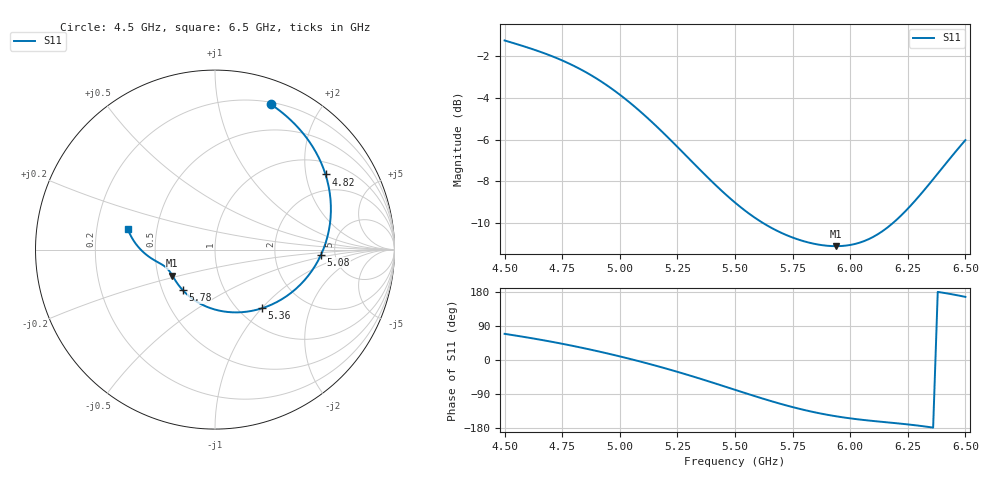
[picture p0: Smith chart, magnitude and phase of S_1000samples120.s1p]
! TOUCHSTONE file generated by CST MICROWAVE STUDIO
! Date and time: Thu Oct 27 01:47:39 2022
! Project name: L.cst
! Parameters = {Di=1.27; Epsilon_r=1.56; InnerDiameter=1.27; Length=2; Lf=10; Lg=60; OuterConductorThickness=0.2921; OuterDiameter=3.6; Wf=3; Wp=41.2; de=1.5; df=6.8; g=0.8; gx=1.48104; gy=1.87884; h=2.34; hf=1.524; px=10.7545; py=10.5753; w=9.7; wx=9.27342; wy=8.69649}
! Header version: 2018
! Port assignment regex: !\s*Touchstone port\s*([0-9]+)\s*=\s*(CST MWS port|CST DS port)\s*([0-9]+|Zmin|Zmax)\s*\(\"(.*)\"\)(\s*mode\s*([0-9]+))?.*
! Touchstone port assignment:
! Touchstone port 1 = CST MWS port 1 ("")
# GHz S DB R 50
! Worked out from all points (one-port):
!   101 points, 4.5 GHz to 6.5 GHz, reference 50 ohm
!   lowest |S11| = -11.1 dB at 5.94 GHz (marker M1), VSWR 1.77, Z = 29.7 - j9.33 ohm
!   |S11| at or under -10 dB: 5.623 GHz to 6.185 GHz (561.9 MHz wide, 9.52 % of centre)
!   S11 on the Smith chart (normalised r, x): 4.5 GHz: 0.22, +1.43; 4.82 GHz: 1.38, +2.59; 5.08 GHz: 3.87, -0.33; 5.36 GHz: 1.26, -1.00; 5.78 GHz: 0.63, -0.31; 6.5 GHz: 0.34, +0.10
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4.5  -1.23 69.0
4.58  -1.50 61.3
4.64  -1.72 55.1
4.76  -2.24 41.6
4.82  -2.56 34.2
4.88  -2.93 26.4
4.92  -3.21 21.0
5  -3.83 9.5
5.08  -4.56 -2.7
5.18  -5.57 -19.1
5.26  -6.45 -33.0
5.32  -7.12 -44.0
5.36  -7.57 -51.5
5.42  -8.22 -63.0
5.5  -9.01 -78.6
5.58  -9.69 -94.2
5.64  -10.11 -105.4
5.76  -10.73 -125.8
5.78  -10.80 -128.9
5.86  -11.02 -139.8
5.94  -11.10 -148.7
6  -11.05 -154.0
6.12  -10.53 -162.1
6.26  -9.19 -170.7
6.32  -8.43 -175.1
6.38  -7.62 179.7
6.44  -6.80 173.6
6.5  -6.02 166.6
